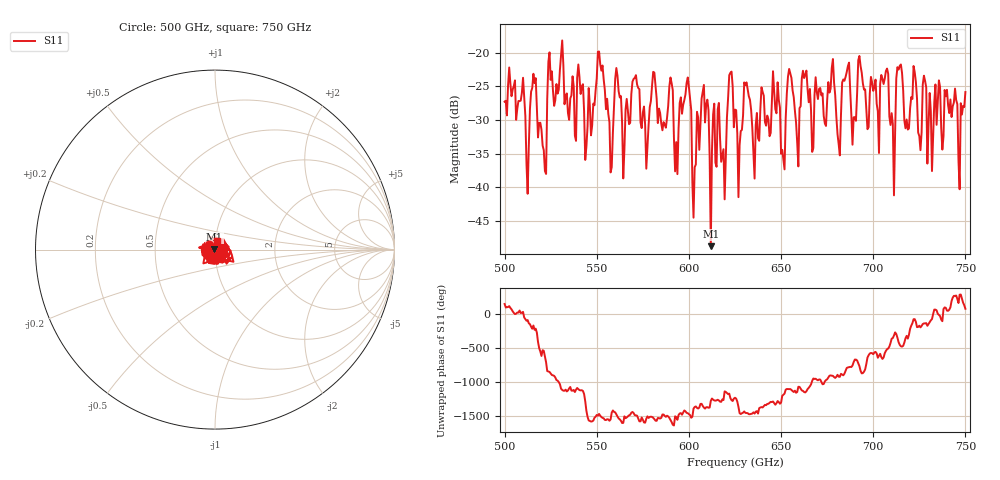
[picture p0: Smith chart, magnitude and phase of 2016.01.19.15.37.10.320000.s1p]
!Created with skrf (http://scikit-rf.org).
# GHz S RI R 50.0
!freq ReS11 ImS11
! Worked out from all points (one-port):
!   401 points, 500 GHz to 750 GHz, reference 50 ohm
!   lowest |S11| = -48.7 dB at 611.9 GHz (marker M1), VSWR 1.01, Z = 49.6 + j0.0846 ohm
!   |S11| at or under -10 dB: start of sweep to end of sweep
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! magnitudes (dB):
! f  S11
! 500 GHz  -27.3
! 509.4 GHz  -26.0
! 512.5 GHz  -41.0
! 515.6 GHz  -23.1
! 521.2 GHz  -34.5
! 524.4 GHz  -20.0
! 531.2 GHz  -18.2
! 544.4 GHz  -34.0
! 551.9 GHz  -21.7
! 557.5 GHz  -37.8
! 562.5 GHz  -26.7
! 577.5 GHz  -34.0
! 590 GHz  -23.7
! 593.8 GHz  -38.0
! 599.4 GHz  -23.7
! 602.5 GHz  -44.5
! 608.1 GHz  -24.8
! 611.9 GHz  -48.7
! 625 GHz  -28.5
! 646.9 GHz  -28.4
! 651.2 GHz  -36.0
! 656.2 GHz  -25.6
! 687.5 GHz  -25.6
! 706.9 GHz  -22.7
! 710.6 GHz  -30.6
! 714.4 GHz  -22.0
! 718.8 GHz  -31.4
! 750 GHz  -25.9
